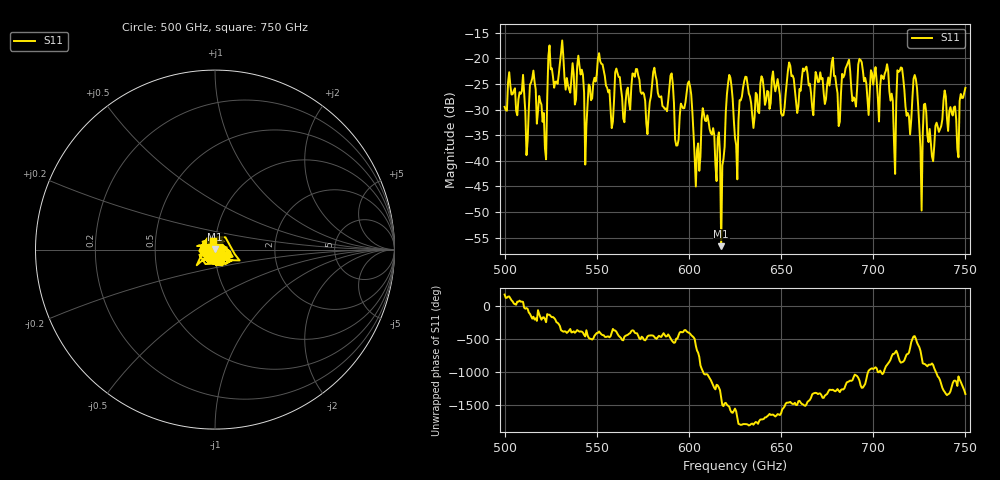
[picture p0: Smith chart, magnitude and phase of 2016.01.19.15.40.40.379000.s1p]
!Created with skrf (http://scikit-rf.org).
# GHz S RI R 50.0
!freq ReS11 ImS11
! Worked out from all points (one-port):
!   401 points, 500 GHz to 750 GHz, reference 50 ohm
!   lowest |S11| = -56.7 dB at 617.5 GHz (marker M1), VSWR 1.00, Z = 50.1 + j0.103 ohm
!   |S11| at or under -10 dB: start of sweep to end of sweep
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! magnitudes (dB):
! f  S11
! 500 GHz  -29.5
! 515 GHz  -23.9
! 521.2 GHz  -30.7
! 524.4 GHz  -17.5
! 531.2 GHz  -16.5
! 544.4 GHz  -33.1
! 551.9 GHz  -20.6
! 558.1 GHz  -33.6
! 562.5 GHz  -23.6
! 590.6 GHz  -22.9
! 593.8 GHz  -37.0
! 600 GHz  -24.5
! 604.4 GHz  -37.9
! 608.8 GHz  -32.1
! 617.5 GHz  -56.7
! 621.9 GHz  -23.2
! 625 GHz  -35.5
! 630.6 GHz  -23.6
! 656.2 GHz  -23.3
! 687.5 GHz  -22.5
! 706.9 GHz  -22.4
! 711.2 GHz  -36.2
! 714.4 GHz  -22.4
! 718.8 GHz  -30.7
! 722.5 GHz  -23.2
! 725.6 GHz  -37.4
! 731.9 GHz  -39.2
! 750 GHz  -25.7
